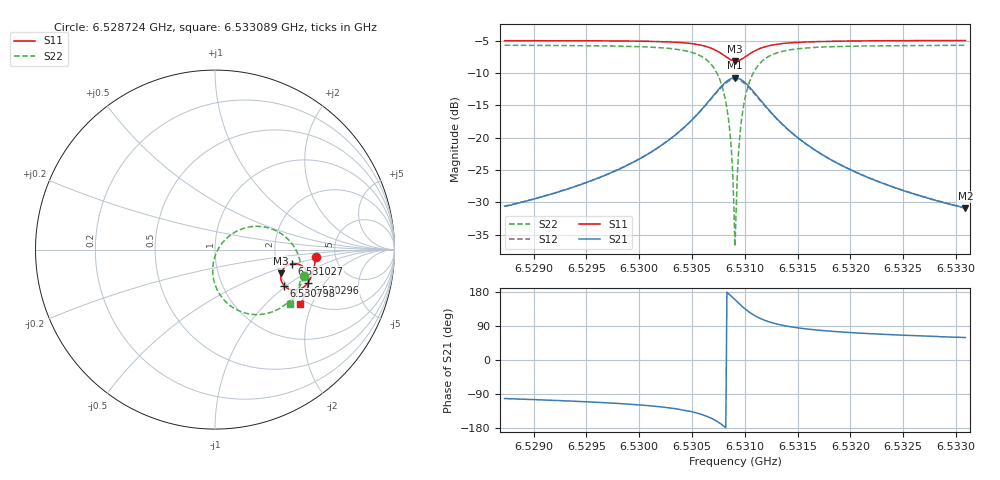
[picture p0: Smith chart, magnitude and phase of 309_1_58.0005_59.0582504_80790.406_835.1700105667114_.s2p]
#  HZ  S  RI  R  50.00
! Rohde & Schwarz Vector Network Analyzer
! Rohde-Schwarz,ZNB20-2Port,1311601062101988,3.16
! Created: UTC 3/21/2024, 1:04:06 AM
! freq[Hz]  re:S11  im:S11  re:S21  im:S21  re:S12  im:S12  re:S22  im:S22
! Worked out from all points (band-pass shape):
!   401 points, 6.528724 GHz to 6.533089 GHz, reference 50 ohm
!   highest |S21| = -10.74 dB at 6.530907 GHz (marker M1); lowest = -30.9 dB at 6.533089 GHz (marker M2)
!   |S21| within 3 dB of the highest: 6.530689 GHz to 6.531126 GHz (437.1 kHz wide, 0.00669 % of centre)
!   lowest |S11| = -8.1 dB at 6.530907 GHz (marker M3), VSWR 2.29, Z = 102 - j31.5 ohm
!   |S11| at or under -10 dB: nowhere
!   |S22| runs from -36.7 to -5.7 dB; largest |S21 - S12| = 0.011
!   S11 on the Smith chart (normalised r, x): 6.528724 GHz: 3.50, -0.44; 6.530296 GHz: 2.59, -1.39; 6.530798 GHz: 1.94, -0.96; 6.531027 GHz: 2.43, -0.47; 6.533089 GHz: 1.84, -1.65
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6.5287245e9  0.56 -0.0435  -0.00606 -0.029  -0.00649 -0.0289  0.4956 -0.1489
6.5294556e9  0.5511 -0.1036  -0.0148 -0.0411  -0.0158 -0.0411  0.4669 -0.2153
6.5301867e9  0.5244 -0.1746  -0.0462 -0.0709  -0.0482 -0.0698  0.3902 -0.3075
6.5302958e9  0.5157 -0.1874  -0.0587 -0.0787  -0.0608 -0.0771  0.3643 -0.3255
6.530634e9  0.4538 -0.2257  -0.1538 -0.0962  -0.1562 -0.0902  0.1838 -0.3571
6.5307322e9  0.4144 -0.2213  -0.2143 -0.0726  -0.2142 -0.064  0.0807 -0.3092
6.5307977e9  0.3854 -0.2013  -0.2579 -0.0284  -0.2536 -0.019  0.0139 -0.2273
6.5308523e9  0.3684 -0.1701  -0.2795 0.0322  -0.2718 0.0398  -0.0127 -0.1234
6.5308741e9  0.3662 -0.1547  -0.2804 0.0604  -0.2715 0.0668  -0.00971 -0.0764
6.530885e9  0.3661 -0.1467  -0.2788 0.075  -0.2693 0.0805  -0.00456 -0.0528
6.5308959e9  0.3671 -0.1387  -0.2757 0.0895  -0.266 0.0941  0.00273 -0.0298
6.5309068e9  0.3689 -0.131  -0.2712 0.1035  -0.2613 0.1072  0.0126 -0.00735
6.5309286e9  0.375 -0.116  -0.2581 0.13  -0.2483 0.1319  0.0382 0.034
6.5309396e9  0.3792 -0.1092  -0.2498 0.1421  -0.2401 0.1432  0.0541 0.0523
6.5309614e9  0.3894 -0.0974  -0.2302 0.163  -0.2213 0.1625  0.0894 0.0835
6.5309941e9  0.4077 -0.0849  -0.1966 0.1852  -0.1892 0.1833  0.1483 0.1146
6.5310268e9  0.4269 -0.0785  -0.1621 0.197  -0.1562 0.1943  0.2077 0.1285
6.5311032e9  0.4659 -0.0817  -0.0938 0.1951  -0.0908 0.1926  0.3221 0.1128
6.5312123e9  0.4988 -0.1042  -0.0362 0.1653  -0.0346 0.1638  0.4154 0.0486
6.5316379e9  0.5211 -0.18  0.0141 0.0818  0.015 0.0816  0.4802 -0.128
6.532369e9  0.5015 -0.2525  0.0166 0.0393  0.0173 0.0391  0.453 -0.2432
6.5330892e9  0.4739 -0.3056  0.0146 0.0245  0.0151 0.0244  0.418 -0.3048
